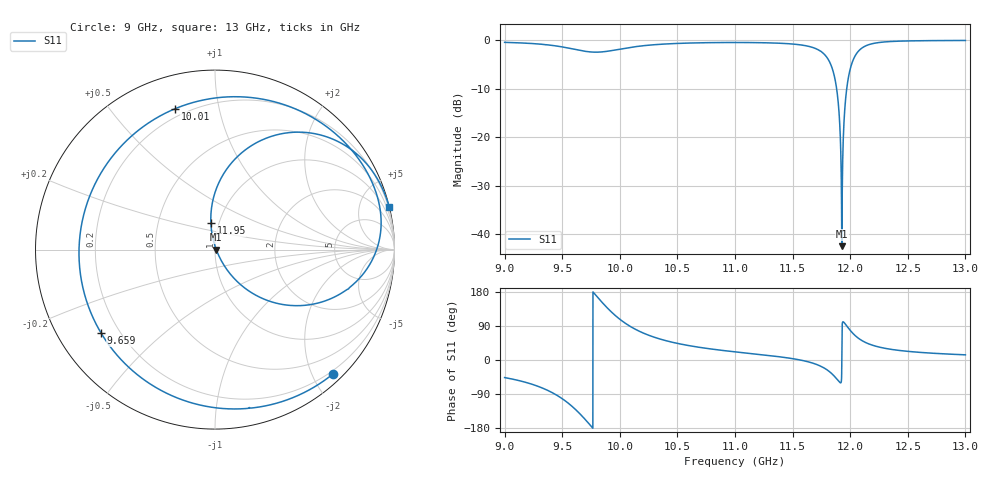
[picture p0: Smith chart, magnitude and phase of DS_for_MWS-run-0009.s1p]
! TOUCHSTONE file generated by CST DESIGN STUDIO
! Date and time: Tue Feb  4 18:09:30 2025
! Project name: C:\Work\MatlabApps\UnitCellOptimizationMatlab\CST\unitcell.cst
! Tree item: Tasks\Sweep1\SPara1\S-Parameters
! Header version: 2024
! Port assignment regex: !\s*Touchstone port\s*([0-9]+)\s*=\s*(CST MWS port|CST DES external port|CST DES block port)\s*(.+)\s* \(\"(.*)\"\)(\s*mode\s*([0-9]+))?.*
! Touchstone port assignment:
! Touchstone port 1 = CST DES external port 1 ("")
# GHz S MA R 50
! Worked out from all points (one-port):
!   4001 points, 9 GHz to 13 GHz, reference 50 ohm
!   lowest |S11| = -42.5 dB at 11.93 GHz (marker M1), VSWR 1.02, Z = 50.7 - j0.102 ohm
!   |S11| at or under -10 dB: 11.88 GHz to 11.97 GHz (87.3 MHz wide, 0.732 % of centre)
!   S11 on the Smith chart (normalised r, x): 9 GHz: 0.15, -2.33; 9.659 GHz: 0.13, -0.32; 10.01 GHz: 0.16, +0.75; 11.95 GHz: 0.91, +0.28; 13 GHz: 0.02, +8.37
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9  0.9554 -46.3
9.271  0.9233 -67.4
9.5  0.8571 -102.1
9.659  0.7869 -143.7
9.736  0.7623 -169.4
9.809  0.7568 164.9
9.907  0.7777 132.6
10  0.8128 107.6
10.008  0.816 105.7
10.235  0.8894 67.2
10.5  0.9313 43.8
11  0.9522 21.5
11.5  0.9181 3.6
11.706  0.8184 -11.5
11.828  0.5762 -32.7
11.885  0.3001 -50.6
11.9  0.2016 -56.0
11.914  0.1016 -60.1
11.927  0.007489 -7.7
11.938  0.08126 100.8
11.947  0.1501 98.8
11.954  0.2029 96.3
11.965  0.2833 92.0
12  0.5054 78.3
12.067  0.7637 58.4
12.181  0.9188 40.3
12.5  0.9883 22.8
13  0.9994 13.6
